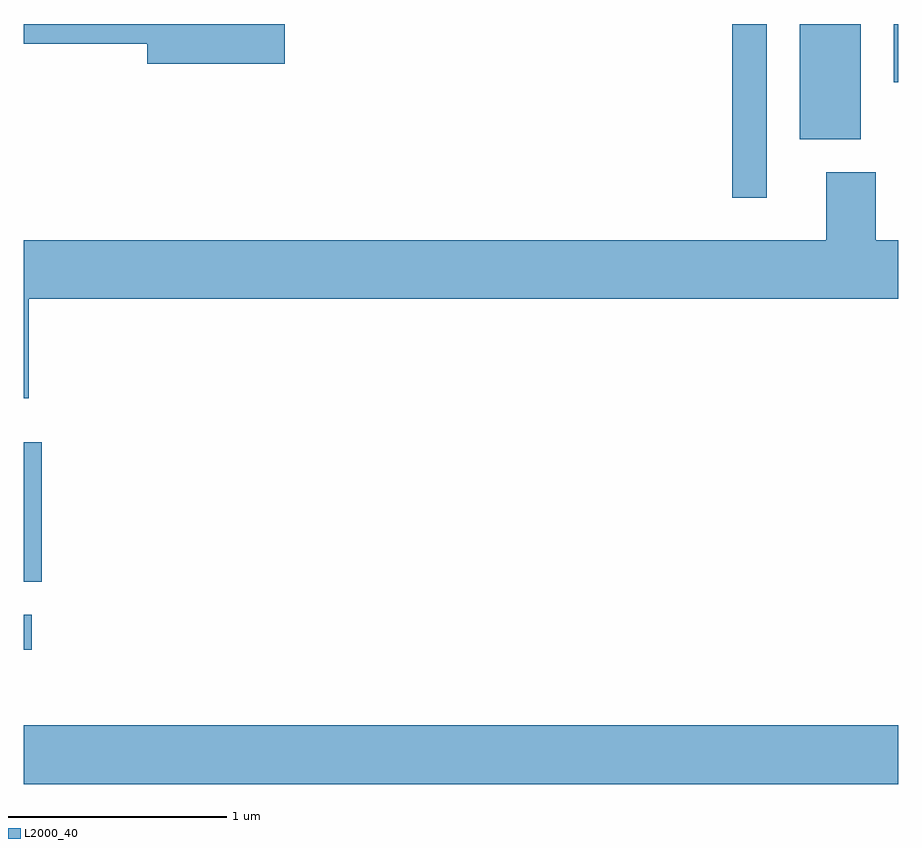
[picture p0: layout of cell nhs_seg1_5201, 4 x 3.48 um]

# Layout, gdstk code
import gdstk
lib = gdstk.Library(unit=1e-6, precision=1e-09)
def R(c, l, rs):  # rectangles x0, y0, x1, y1
    for r in rs: c.add(gdstk.rectangle(r[:2], r[2:], *l))
def P(c, l, *ps):  # polygons
    for p in ps: c.add(gdstk.Polygon(p, *l))
L2000_40 = (2000, 40)

nhs_seg1_5201 = lib.new_cell('nhs_seg1_5201')
R(nhs_seg1_5201, L2000_40, [(341.611,906.236,345.611,906.504), (341.611,906.851,341.648,907.009), (341.611,907.161,341.694,907.799), (344.851,908.918,345.009,909.712), (345.161,909.186,345.439,909.712), (345.591,909.446,345.611,909.712)])
P(nhs_seg1_5201, L2000_40, [(342.804,909.712),(341.611,909.712),(341.611,909.621),(342.176,909.621),(342.176,909.531),(342.804,909.531)],
  [(341.634,908.456),(345.611,908.456),(345.611,908.724),(345.509,908.724),(345.509,909.034),(345.281,909.034),(345.281,908.724),(341.611,908.724),(341.611,908.001),(341.634,908.001)])

lib.write_gds('nhs_seg1_5201.gds')
